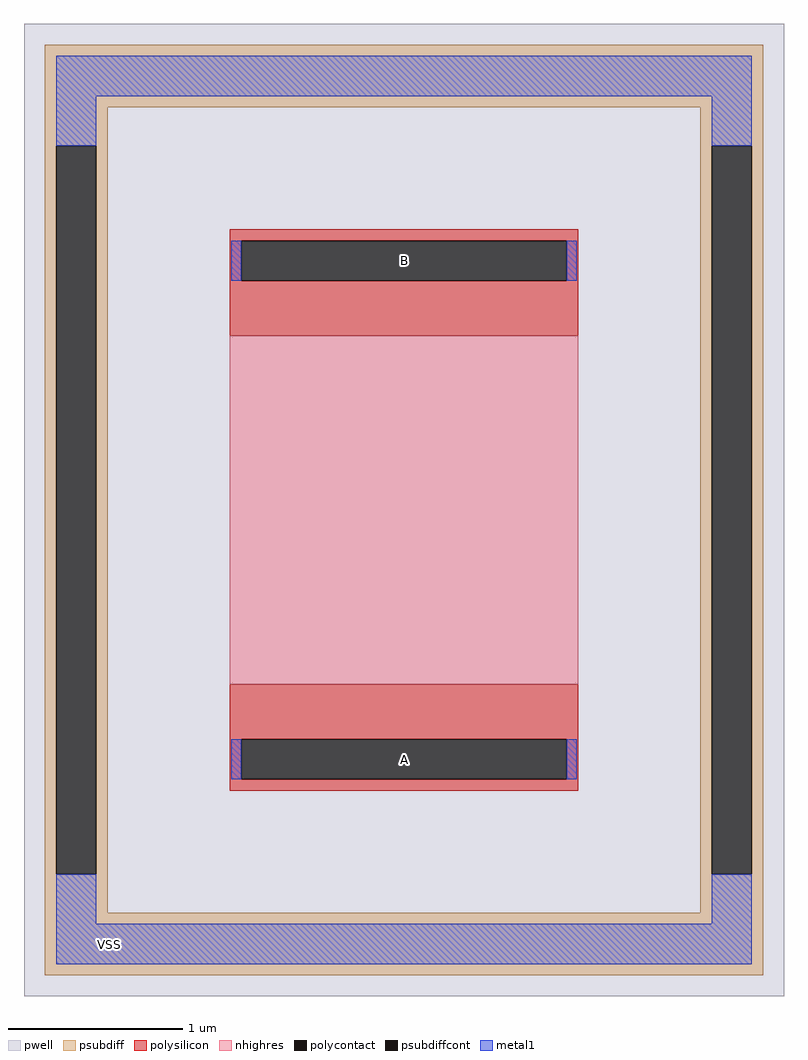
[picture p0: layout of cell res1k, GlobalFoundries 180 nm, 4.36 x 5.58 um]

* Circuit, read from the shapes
.subckt res1k A B VSS
XR1 B A VSS ppolyf_u_1k r_width=2u r_length=2u
.ends

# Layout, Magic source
magic
tech gf180mcuD
magscale 1 10
<< pwell >>
rect -60 -60 812 1056
<< psubdiff >>
rect -36 960 788 1032
rect -36 916 36 960
rect -36 80 -23 916
rect 23 80 36 916
rect 716 916 788 960
rect -36 36 36 80
rect 716 80 729 916
rect 775 80 788 916
rect 716 36 788 80
rect -36 -36 788 36
<< psubdiffcont >>
rect -23 80 23 916
rect 729 80 775 916
<< polysilicon >>
rect 176 807 576 820
rect 176 761 189 807
rect 563 761 576 807
rect 176 698 576 761
rect 176 235 576 298
rect 176 189 189 235
rect 563 189 576 235
rect 176 176 576 189
<< polycontact >>
rect 189 761 563 807
rect 189 189 563 235
<< nhighres >>
rect 176 298 576 698
<< metal1 >>
rect -23 973 775 1019
rect -23 916 23 973
rect 729 916 775 973
rect 178 761 189 807
rect 563 761 574 807
rect 178 189 189 235
rect 563 189 574 235
rect -23 23 23 80
rect 729 23 775 80
rect -23 -23 775 23
<< labels >>
rlabel metal1 189 189 563 235 0 A
port 1 nsew
rlabel metal1 189 761 563 807 0 B
port 2 nsew
rlabel metal1 -23 -23 100 23 0 VSS
port 3 nsew
<< end >>
